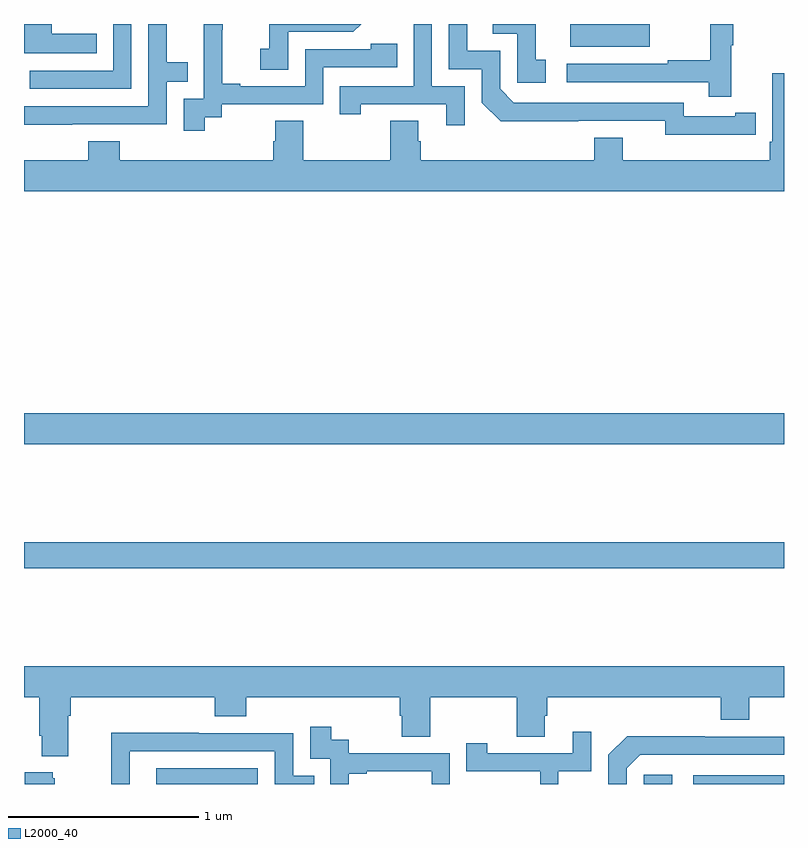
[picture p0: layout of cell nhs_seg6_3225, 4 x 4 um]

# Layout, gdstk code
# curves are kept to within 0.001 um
import gdstk
lib = gdstk.Library(unit=1e-6, precision=1e-09)
def R(c, l, rs):  # rectangles x0, y0, x1, y1
    for r in rs: c.add(gdstk.rectangle(r[:2], r[2:], *l))
def P(c, l, *ps):  # polygons
    for p in ps: c.add(gdstk.Polygon(p, *l))
L2000_40 = (2000, 40)

nhs_seg6_3225 = lib.new_cell('nhs_seg6_3225')
R(nhs_seg6_3225, L2000_40, [(299.697,993.5,300.231,993.582), (302.262,993.5,302.413,993.55), (302.523,993.5,303,993.546), (299,994.636,303,994.772), (299,995.288,303,995.452), (301.874,997.379,302.293,997.5)])
P(nhs_seg6_3225, L2000_40, [(301.32,997.173),(301.146,997.173),(301.146,997.5),(301.05,997.5),(301.05,997.173),(300.661,997.173),(300.661,997.026),(300.772,997.026),(300.772,997.077),(301.223,997.077),(301.223,996.966),(301.32,996.966)],
  [(300.39,997.458),(300.732,997.458),(300.774,997.5),(300.292,997.5),(300.292,997.369),(300.243,997.369),(300.243,997.26),(300.39,997.26)],
  [(302.744,996.918),(302.852,996.918),(302.852,997.034),(302.744,997.034),(302.744,997.014),(302.472,997.014),(302.472,997.086),(301.578,997.086),(301.506,997.158),(301.506,997.359),(301.333,997.359),(301.333,997.5),(301.236,997.5),(301.236,997.263),(301.41,997.263),(301.41,997.086),(301.508,996.989),(302.376,996.99),(302.376,996.917)],
  [(299.384,997.45),(299.145,997.45),(299.145,997.5),(299,997.5),(299,997.346),(299.384,997.346)],
  [(299.95,997.009),(300.042,997.009),(300.042,997.077),(300.576,997.077),(300.576,997.272),(300.965,997.272),(300.965,997.395),(300.825,997.395),(300.825,997.368),(300.48,997.368),(300.48,997.173),(300.139,997.173),(300.139,997.186),(300.044,997.186),(300.044,997.469),(300.045,997.469),(300.045,997.5),(299.945,997.5),(299.945,997.337),(299.946,997.337),(299.946,997.107),(299.841,997.107),(299.841,996.939),(299.95,996.939)],
  [(299.565,997.5),(299.469,997.5),(299.469,997.254),(299.031,997.254),(299.031,997.158),(299.565,997.158)],
  [(301.747,997.311),(301.694,997.311),(301.694,997.5),(301.467,997.5),(301.467,997.449),(301.596,997.449),(301.596,997.191),(301.747,997.191)],
  [(299.255,996.972),(299.751,996.972),(299.751,997.197),(299.861,997.197),(299.861,997.298),(299.751,997.298),(299.751,997.5),(299.655,997.5),(299.655,997.068),(299,997.068),(299,996.971),(299.255,996.971)],
  [(302.723,997.387),(302.734,997.387),(302.734,997.5),(302.613,997.5),(302.613,997.31),(302.389,997.31),(302.389,997.29),(301.857,997.29),(301.857,997.194),(302.605,997.194),(302.605,997.116),(302.723,997.116)],
  [(303,997.24),(302.937,997.24),(302.937,996.88),(302.924,996.88),(302.924,996.784),(302.152,996.784),(302.152,996.901),(302,996.901),(302,996.784),(301.088,996.784),(301.088,996.882),(301.075,996.882),(301.075,996.992),(300.928,996.992),(300.928,996.784),(300.471,996.784),(300.471,996.992),(300.323,996.992),(300.323,996.882),(300.311,996.882),(300.311,996.784),(299.504,996.784),(299.504,996.883),(299.339,996.883),(299.339,996.784),(299,996.784),(299,996.62),(303,996.62)],
  [(299.233,993.86),(299.246,993.86),(299.246,993.956),(300.005,993.956),(300.005,993.857),(300.17,993.857),(300.17,993.956),(300.977,993.956),(300.977,993.858),(300.989,993.858),(300.989,993.748),(301.137,993.748),(301.137,993.956),(301.594,993.956),(301.594,993.748),(301.741,993.748),(301.741,993.858),(301.754,993.858),(301.754,993.956),(302.666,993.956),(302.666,993.839),(302.818,993.839),(302.818,993.956),(303,993.956),(303,994.12),(299,994.12),(299,993.956),(299.081,993.956),(299.081,993.754),(299.093,993.754),(299.093,993.647),(299.233,993.647)],
  [(300.71,993.555),(300.805,993.555),(300.805,993.567),(301.146,993.567),(301.146,993.5),(301.242,993.5),(301.242,993.663),(300.708,993.663),(300.708,993.732),(300.616,993.732),(300.616,993.802),(300.507,993.802),(300.507,993.633),(300.612,993.633),(300.612,993.5),(300.71,993.5)],
  [(301.812,993.567),(301.986,993.567),(301.986,993.775),(301.889,993.775),(301.889,993.663),(301.438,993.663),(301.438,993.715),(301.327,993.715),(301.327,993.567),(301.716,993.567),(301.716,993.5),(301.812,993.5)],
  [(299.557,993.672),(300.321,993.672),(300.321,993.5),(300.527,993.5),(300.527,993.543),(300.417,993.543),(300.417,993.768),(299.921,993.768),(299.921,993.77),(299.458,993.77),(299.458,993.5),(299.557,993.5)],
  [(302.172,993.582),(302.244,993.654),(303,993.654),(303,993.75),(302.582,993.75),(302.582,993.752),(302.174,993.752),(302.076,993.654),(302.076,993.5),(302.172,993.5)],
  [(299.161,993.531),(299.15,993.531),(299.15,993.562),(299.003,993.562),(299.003,993.5),(299.161,993.5)])

lib.write_gds('nhs_seg6_3225.gds')
